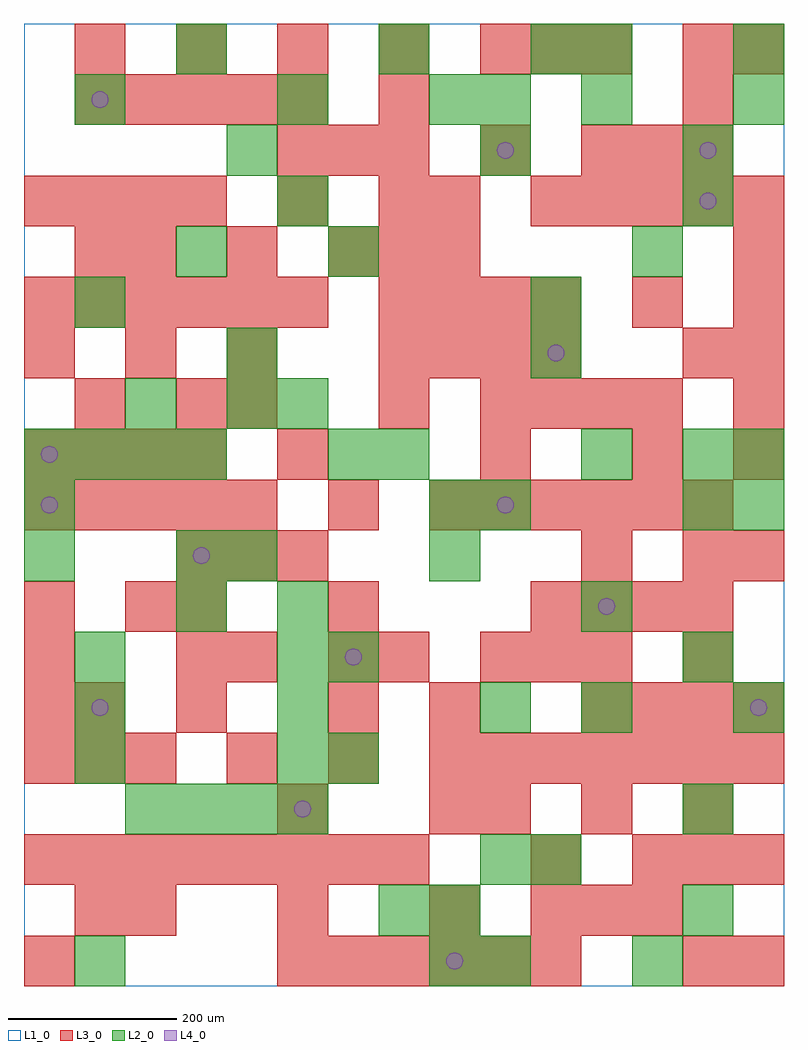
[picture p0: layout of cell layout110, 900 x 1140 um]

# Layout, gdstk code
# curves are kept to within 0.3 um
import gdstk
lib = gdstk.Library(unit=1e-6, precision=1e-09)
def R(c, l, rs):  # rectangles x0, y0, x1, y1
    for r in rs: c.add(gdstk.rectangle(r[:2], r[2:], *l))
def A(c, l, x, y, w, h, nx, ny, dx, dy):  # array of equal rectangles
    R(c, l, [(x+i*dx, y+j*dy, x+i*dx+w, y+j*dy+h) for i in range(nx) for j in range(ny)])
def P(c, l, *ps):  # polygons
    for p in ps: c.add(gdstk.Polygon(p, *l))
L1_0 = (1, 0)
L2_0 = (2, 0)
L3_0 = (3, 0)
L4_0 = (4, 0)

layout110 = lib.new_cell('layout110')
R(layout110, L1_0, [(0,0,900,1140)])
A(layout110, L2_0, 540, 120, 60, 60, 1, 3, 0, 420)
A(layout110, L2_0, 120, 180, 60, 60, 4, 1, 60, 0)
A(layout110, L2_0, 780, 180, 60, 60, 1, 3, 0, 180)
A(layout110, L2_0, 60, 300, 60, 60, 3, 1, 240, 0)
A(layout110, L2_0, 360, 360, 60, 60, 1, 3, 0, 240)
A(layout110, L2_0, 300, 420, 60, 60, 1, 3, 0, 240)
A(layout110, L2_0, 0, 600, 60, 60, 4, 1, 60, 0)
R(layout110, L2_0, [(60,0,120,60), (480,0,540,60), (540,0,600,60), (720,0,780,60), (420,60,480,120), (480,60,540,120), (780,60,840,120), (600,120,660,180), (60,240,120,300), (300,240,360,300), (360,240,420,300), (660,300,720,360), (840,300,900,360), (60,360,120,420), (300,360,360,420), (180,420,240,480), (660,420,720,480), (0,480,60,540), (180,480,240,540), (240,480,300,540), (480,480,540,540), (0,540,60,600), (480,540,540,600), (840,540,900,600), (420,600,480,660), (660,600,720,660), (780,600,840,660), (840,600,900,660), (120,660,180,720), (240,660,300,720), (240,720,300,780), (600,720,660,780), (60,780,120,840), (600,780,660,840), (180,840,240,900), (720,840,780,900), (780,900,840,960), (240,960,300,1020), (780,960,840,1020), (60,1020,120,1080), (300,1020,360,1080), (480,1020,540,1080), (540,1020,600,1080), (660,1020,720,1080), (840,1020,900,1080), (180,1080,240,1140), (420,1080,480,1140), (600,1080,660,1140), (660,1080,720,1140), (840,1080,900,1140)])
A(layout110, L3_0, 300, 0, 60, 60, 6, 1, 60, 0)
A(layout110, L3_0, 120, 60, 60, 60, 3, 1, 180, 0)
A(layout110, L3_0, 600, 60, 60, 60, 3, 1, 60, 0)
A(layout110, L3_0, 0, 120, 60, 60, 8, 1, 60, 0)
A(layout110, L3_0, 720, 120, 60, 60, 3, 1, 60, 0)
A(layout110, L3_0, 540, 180, 60, 60, 3, 1, 120, 0)
A(layout110, L3_0, 0, 240, 60, 60, 3, 1, 60, 0)
A(layout110, L3_0, 240, 240, 60, 60, 3, 1, 120, 0)
A(layout110, L3_0, 540, 240, 60, 60, 6, 1, 60, 0)
A(layout110, L3_0, 0, 300, 60, 60, 1, 3, 0, 60)
A(layout110, L3_0, 180, 300, 60, 60, 1, 3, 0, 60)
A(layout110, L3_0, 360, 300, 60, 60, 1, 3, 0, 60)
A(layout110, L3_0, 660, 300, 60, 60, 4, 1, 60, 0)
A(layout110, L3_0, 540, 360, 60, 60, 3, 1, 60, 0)
A(layout110, L3_0, 600, 420, 60, 60, 4, 1, 60, 0)
A(layout110, L3_0, 180, 480, 60, 60, 3, 1, 60, 0)
A(layout110, L3_0, 0, 540, 60, 60, 5, 1, 60, 0)
A(layout110, L3_0, 480, 540, 60, 60, 6, 1, 60, 0)
A(layout110, L3_0, 0, 600, 60, 60, 4, 2, 60, 300)
A(layout110, L3_0, 840, 600, 60, 60, 1, 5, 0, 60)
A(layout110, L3_0, 540, 660, 60, 60, 4, 1, 60, 0)
A(layout110, L3_0, 0, 720, 60, 60, 3, 1, 120, 0)
A(layout110, L3_0, 420, 720, 60, 60, 4, 2, 60, 60)
A(layout110, L3_0, 0, 780, 60, 60, 6, 1, 60, 0)
A(layout110, L3_0, 120, 840, 60, 60, 3, 1, 120, 0)
A(layout110, L3_0, 600, 900, 60, 60, 5, 1, 60, 0)
A(layout110, L3_0, 300, 960, 60, 60, 3, 1, 60, 0)
A(layout110, L3_0, 660, 960, 60, 60, 3, 1, 60, 0)
A(layout110, L3_0, 60, 1020, 60, 60, 5, 1, 60, 0)
A(layout110, L3_0, 60, 1080, 60, 60, 5, 1, 120, 0)
R(layout110, L3_0, [(0,0,60,60), (780,0,840,60), (840,0,900,60), (60,60,120,120), (600,120,660,180), (300,180,360,240), (480,180,540,240), (60,300,120,360), (480,300,540,360), (240,360,300,420), (420,360,480,420), (780,360,840,420), (120,420,180,480), (660,480,720,540), (780,480,840,540), (840,480,900,540), (360,540,420,600), (300,600,360,660), (540,600,600,660), (720,600,780,660), (60,660,120,720), (180,660,240,720), (240,660,300,720), (420,660,480,720), (780,720,840,780), (720,780,780,840), (60,840,120,900), (420,840,480,900), (480,840,540,900), (300,900,360,960), (420,900,480,960), (480,900,540,960), (540,960,600,1020), (420,1020,480,1080), (780,1020,840,1080), (600,1080,660,1140), (660,1080,720,1140), (780,1080,840,1140), (840,1080,900,1140)])
P(layout110, L4_0, [(40,570),(39.239,573.827),(37.071,577.071),(33.827,579.239),(30,580),(26.173,579.239),(22.929,577.071),(20.761,573.827),(20,570),(20.761,566.173),(22.929,562.929),(26.173,560.761),(30,560),(33.827,560.761),(37.071,562.929),(39.239,566.173)],
  [(40,630),(39.239,633.827),(37.071,637.071),(33.827,639.239),(30,640),(26.173,639.239),(22.929,637.071),(20.761,633.827),(20,630),(20.761,626.173),(22.929,622.929),(26.173,620.761),(30,620),(33.827,620.761),(37.071,622.929),(39.239,626.173)],
  [(100,330),(99.239,333.827),(97.071,337.071),(93.827,339.239),(90,340),(86.173,339.239),(82.929,337.071),(80.761,333.827),(80,330),(80.761,326.173),(82.929,322.929),(86.173,320.761),(90,320),(93.827,320.761),(97.071,322.929),(99.239,326.173)],
  [(100,1050),(99.239,1053.827),(97.071,1057.071),(93.827,1059.239),(90,1060),(86.173,1059.239),(82.929,1057.071),(80.761,1053.827),(80,1050),(80.761,1046.173),(82.929,1042.929),(86.173,1040.761),(90,1040),(93.827,1040.761),(97.071,1042.929),(99.239,1046.173)],
  [(220,510),(219.239,513.827),(217.071,517.071),(213.827,519.239),(210,520),(206.173,519.239),(202.929,517.071),(200.761,513.827),(200,510),(200.761,506.173),(202.929,502.929),(206.173,500.761),(210,500),(213.827,500.761),(217.071,502.929),(219.239,506.173)],
  [(340,210),(339.239,213.827),(337.071,217.071),(333.827,219.239),(330,220),(326.173,219.239),(322.929,217.071),(320.761,213.827),(320,210),(320.761,206.173),(322.929,202.929),(326.173,200.761),(330,200),(333.827,200.761),(337.071,202.929),(339.239,206.173)],
  [(400,390),(399.239,393.827),(397.071,397.071),(393.827,399.239),(390,400),(386.173,399.239),(382.929,397.071),(380.761,393.827),(380,390),(380.761,386.173),(382.929,382.929),(386.173,380.761),(390,380),(393.827,380.761),(397.071,382.929),(399.239,386.173)],
  [(520,30),(519.239,33.827),(517.071,37.071),(513.827,39.239),(510,40),(506.173,39.239),(502.929,37.071),(500.761,33.827),(500,30),(500.761,26.173),(502.929,22.929),(506.173,20.761),(510,20),(513.827,20.761),(517.071,22.929),(519.239,26.173)],
  [(580,570),(579.239,573.827),(577.071,577.071),(573.827,579.239),(570,580),(566.173,579.239),(562.929,577.071),(560.761,573.827),(560,570),(560.761,566.173),(562.929,562.929),(566.173,560.761),(570,560),(573.827,560.761),(577.071,562.929),(579.239,566.173)],
  [(580,990),(579.239,993.827),(577.071,997.071),(573.827,999.239),(570,1000),(566.173,999.239),(562.929,997.071),(560.761,993.827),(560,990),(560.761,986.173),(562.929,982.929),(566.173,980.761),(570,980),(573.827,980.761),(577.071,982.929),(579.239,986.173)],
  [(640,750),(639.239,753.827),(637.071,757.071),(633.827,759.239),(630,760),(626.173,759.239),(622.929,757.071),(620.761,753.827),(620,750),(620.761,746.173),(622.929,742.929),(626.173,740.761),(630,740),(633.827,740.761),(637.071,742.929),(639.239,746.173)],
  [(700,450),(699.239,453.827),(697.071,457.071),(693.827,459.239),(690,460),(686.173,459.239),(682.929,457.071),(680.761,453.827),(680,450),(680.761,446.173),(682.929,442.929),(686.173,440.761),(690,440),(693.827,440.761),(697.071,442.929),(699.239,446.173)],
  [(820,930),(819.239,933.827),(817.071,937.071),(813.827,939.239),(810,940),(806.173,939.239),(802.929,937.071),(800.761,933.827),(800,930),(800.761,926.173),(802.929,922.929),(806.173,920.761),(810,920),(813.827,920.761),(817.071,922.929),(819.239,926.173)],
  [(820,990),(819.239,993.827),(817.071,997.071),(813.827,999.239),(810,1000),(806.173,999.239),(802.929,997.071),(800.761,993.827),(800,990),(800.761,986.173),(802.929,982.929),(806.173,980.761),(810,980),(813.827,980.761),(817.071,982.929),(819.239,986.173)],
  [(880,330),(879.239,333.827),(877.071,337.071),(873.827,339.239),(870,340),(866.173,339.239),(862.929,337.071),(860.761,333.827),(860,330),(860.761,326.173),(862.929,322.929),(866.173,320.761),(870,320),(873.827,320.761),(877.071,322.929),(879.239,326.173)])

lib.write_gds('layout110.gds')
